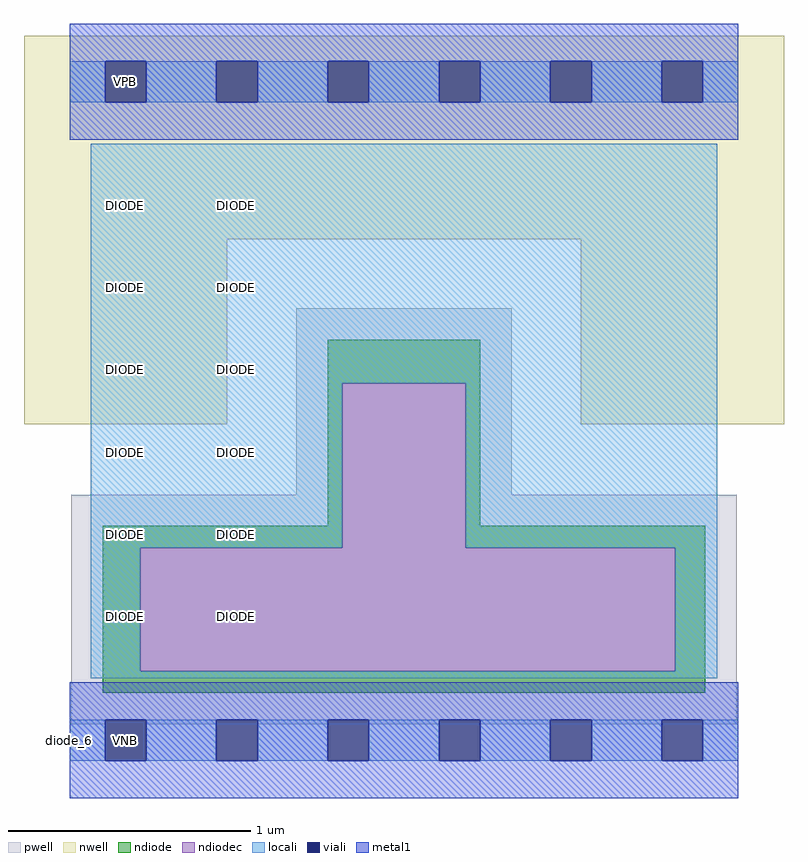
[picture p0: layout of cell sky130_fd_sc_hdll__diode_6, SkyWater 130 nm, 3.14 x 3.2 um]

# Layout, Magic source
magic
tech sky130A
magscale 1 2
<< nwell >>
rect -38 414 590 582
rect -38 261 130 414
rect 422 261 590 414
<< pwell >>
rect 187 203 365 357
rect 1 13 551 203
rect 29 -17 63 13
<< ndiode >>
rect 213 295 339 331
rect 213 177 225 295
rect 27 159 225 177
rect 327 177 339 295
rect 327 159 525 177
rect 27 57 58 159
rect 500 57 525 159
rect 27 39 525 57
<< ndiodec >>
rect 225 159 327 295
rect 58 57 500 159
<< locali >>
rect 0 527 29 561
rect 63 527 121 561
rect 155 527 213 561
rect 247 527 305 561
rect 339 527 397 561
rect 431 527 489 561
rect 523 527 552 561
rect 17 295 535 493
rect 17 159 225 295
rect 327 159 535 295
rect 17 57 58 159
rect 500 57 535 159
rect 17 51 535 57
rect 0 -17 29 17
rect 63 -17 121 17
rect 155 -17 213 17
rect 247 -17 305 17
rect 339 -17 397 17
rect 431 -17 489 17
rect 523 -17 552 17
<< viali >>
rect 29 527 63 561
rect 121 527 155 561
rect 213 527 247 561
rect 305 527 339 561
rect 397 527 431 561
rect 489 527 523 561
rect 29 -17 63 17
rect 121 -17 155 17
rect 213 -17 247 17
rect 305 -17 339 17
rect 397 -17 431 17
rect 489 -17 523 17
<< metal1 >>
rect 0 561 552 592
rect 0 527 29 561
rect 63 527 121 561
rect 155 527 213 561
rect 247 527 305 561
rect 339 527 397 561
rect 431 527 489 561
rect 523 527 552 561
rect 0 496 552 527
rect 0 17 552 48
rect 0 -17 29 17
rect 63 -17 121 17
rect 155 -17 213 17
rect 247 -17 305 17
rect 339 -17 397 17
rect 431 -17 489 17
rect 523 -17 552 17
rect 0 -48 552 -17
<< labels >>
rlabel comment s 0 0 0 0 4 diode_6
flabel pwell s 29 -17 63 17 0 FreeSans 200 0 0 0 VNB
port 3 nsew ground bidirectional
flabel nwell s 29 527 63 561 0 FreeSans 200 0 0 0 VPB
port 4 nsew power bidirectional
flabel metal1 s 29 -17 63 17 0 FreeSans 200 0 0 0 VGND
port 2 nsew ground input
flabel metal1 s 29 527 63 561 0 FreeSans 200 0 0 0 VPWR
port 5 nsew power input
flabel locali s 29 85 63 119 0 FreeSans 200 0 0 0 DIODE
port 1 nsew signal input
flabel locali s 29 153 63 187 0 FreeSans 200 0 0 0 DIODE
port 1 nsew signal input
flabel locali s 121 153 155 187 0 FreeSans 200 0 0 0 DIODE
port 1 nsew signal input
flabel locali s 121 221 155 255 0 FreeSans 200 0 0 0 DIODE
port 1 nsew signal input
flabel locali s 121 85 155 119 0 FreeSans 200 0 0 0 DIODE
port 1 nsew signal input
flabel locali s 121 357 155 391 0 FreeSans 200 0 0 0 DIODE
port 1 nsew signal input
flabel locali s 29 221 63 255 0 FreeSans 200 0 0 0 DIODE
port 1 nsew signal input
flabel locali s 29 357 63 391 0 FreeSans 200 0 0 0 DIODE
port 1 nsew signal input
flabel locali s 121 425 155 459 0 FreeSans 200 0 0 0 DIODE
port 1 nsew signal input
flabel locali s 29 425 63 459 0 FreeSans 200 0 0 0 DIODE
port 1 nsew signal input
flabel locali s 29 289 63 323 0 FreeSans 200 0 0 0 DIODE
port 1 nsew signal input
flabel locali s 121 289 155 323 0 FreeSans 200 0 0 0 DIODE
port 1 nsew signal input
<< properties >>
string LEFsite unithd
string LEFclass CORE
string FIXED_BBOX 0 0 552 544
string GDS_FILE $PDKPATH/libs.ref/sky130_fd_sc_hdll/gds/sky130_fd_sc_hdll.gds
string LEFsymmetry X Y R90
string GDS_END 3603704
string GDS_START 3598642
string LEFproperties maskLayoutSubType "abstract" prCellType "standard" originalViewName "layout"
string path 0.000 13.600 13.800 13.600 
<< end >>
